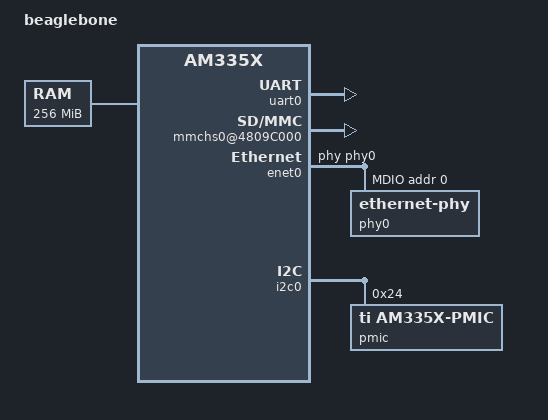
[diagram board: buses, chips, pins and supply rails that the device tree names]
/*-
 * Copyright (c) 2012 Damjan Marion <dmarion@Freebsd.org>
 * All rights reserved.
 *
 * Redistribution and use in source and binary forms, with or without
 * modification, are permitted provided that the following conditions
 * are met:
 * 1. Redistributions of source code must retain the above copyright
 *    notice, this list of conditions and the following disclaimer.
 * 2. Redistributions in binary form must reproduce the above copyright
 *    notice, this list of conditions and the following disclaimer in the
 *    documentation and/or other materials provided with the distribution.
 *
 * THIS SOFTWARE IS PROVIDED BY THE AUTHOR AND CONTRIBUTORS ``AS IS'' AND
 * ANY EXPRESS OR IMPLIED WARRANTIES, INCLUDING, BUT NOT LIMITED TO, THE
 * IMPLIED WARRANTIES OF MERCHANTABILITY AND FITNESS FOR A PARTICULAR PURPOSE
 * ARE DISCLAIMED.  IN NO EVENT SHALL THE AUTHOR OR CONTRIBUTORS BE LIABLE
 * FOR ANY DIRECT, INDIRECT, INCIDENTAL, SPECIAL, EXEMPLARY, OR CONSEQUENTIAL
 * DAMAGES (INCLUDING, BUT NOT LIMITED TO, PROCUREMENT OF SUBSTITUTE GOODS
 * OR SERVICES; LOSS OF USE, DATA, OR PROFITS; OR BUSINESS INTERRUPTION)
 * HOWEVER CAUSED AND ON ANY THEORY OF LIABILITY, WHETHER IN CONTRACT, STRICT
 * LIABILITY, OR TORT (INCLUDING NEGLIGENCE OR OTHERWISE) ARISING IN ANY WAY
 * OUT OF THE USE OF THIS SOFTWARE, EVEN IF ADVISED OF THE POSSIBILITY OF
 * SUCH DAMAGE.
 * 
 * $FreeBSD$
 */

/dts-v1/;

/ {
	model = "beaglebone";
	compatible = "beaglebone", "ti,am335x";
	#address-cells = <1>;
	#size-cells = <1>;

	interrupt-parent = <&AINTC>;

	aliases {
		soc = &SOC;
		uart0 = &uart0;
	};

	memory {
		device_type = "memory";
		reg = < 0x80000000 0x10000000 >;	/* 256MB RAM */
	};

	SOC: am335x {
		#address-cells = <1>;
		#size-cells = <1>;
		compatible = "simple-bus";
		ranges;
		bus-frequency = <0>;

		AINTC: interrupt-controller@48200000 {
			compatible = "ti,aintc";
			interrupt-controller;
			#address-cells = <0>;
			#interrupt-cells = <1>;
			reg =	< 0x48200000 0x1000 >;
		};

		scm@44e10000 {
			compatible = "ti,scm";
			reg =	< 0x44e10000 0x2000 >;
			/* Set of triplets < padname, muxname, padstate> */
			scm-pad-config =
				/* I2C0 */
				"I2C0_SDA", "I2C0_SDA","i2c",
				"I2C0_SCL", "I2C0_SCL","i2c",
				/* Ethernet */
				"MII1_RX_ER", "gmii1_rxerr", "input_pulldown",
				"MII1_TX_EN", "gmii1_txen", "output",
				"MII1_RX_DV", "gmii1_rxdv", "input_pulldown",
				"MII1_TXD3", "gmii1_txd3", "output",
				"MII1_TXD2", "gmii1_txd2", "output",
				"MII1_TXD1", "gmii1_txd1", "output",
				"MII1_TXD0", "gmii1_txd0", "output",
				"MII1_TX_CLK", "gmii1_txclk", "input_pulldown",
				"MII1_RX_CLK", "gmii1_rxclk", "input_pulldown",
				"MII1_RXD3", "gmii1_rxd3", "input_pulldown",
				"MII1_RXD2", "gmii1_rxd2", "input_pulldown",
				"MII1_RXD1", "gmii1_rxd1",  "input_pulldown",
				"MII1_RXD0", "gmii1_rxd0",  "input_pulldown",
				"MDIO", "mdio_data", "input_pullup",
				"MDC", "mdio_clk", "output_pullup",
				/* MMCSD0 */
				"MMC0_CMD", "mmc0_cmd", "input_pullup",
				"MMC0_CLK", "mmc0_clk", "input_pullup",
				"MMC0_DAT0", "mmc0_dat0", "input_pullup",
				"MMC0_DAT1", "mmc0_dat1", "input_pullup",
				"MMC0_DAT2", "mmc0_dat2", "input_pullup",
				"MMC0_DAT3", "mmc0_dat3", "input_pullup";
		};

		prcm@44E00000 {
			compatible = "am335x,prcm";
			#address-cells = <1>;
			#size-cells = <1>;
			reg = < 0x44E00000 0x1300 >;
		};

		dmtimers@44E05000 {
			compatible = "ti,am335x-dmtimer";
			#address-cells = <1>;
			#size-cells = <1>;
			reg =	< 0x44E05000 0x1000
				  0x44E31000 0x1000
				  0x48040000 0x1000
				  0x48042000 0x1000
				  0x48044000 0x1000
				  0x48046000 0x1000
				  0x48048000 0x1000
				  0x4804A000 0x1000 >;
			interrupts = < 66 67 68 69 92 93 94 95 >;
			interrupt-parent = <&AINTC>;
		};

		GPIO: gpio {
			#gpio-cells = <3>;
			compatible = "ti,gpio";
			gpio-controller;
			reg =<	0x44E07000 0x1000
				0x4804C000 0x1000
				0x481AC000 0x1000
				0x481AE000 0x1000 >;
			interrupts = < 96 97 98 99 32 33 62 63 >;
			interrupt-parent = <&AINTC>;
		};


		uart0: serial@44E09000 {
			compatible = "ns16550";
			reg = <0x44E09000 0x1000>;
			reg-shift = <2>;
			interrupts = < 72 >;
			interrupt-parent = <&AINTC>;
			clock-frequency = < 48000000 >; /* FIXME */
		};

		edma3@49000000 {
			compatible = "ti,edma3";
			reg =<	0x49000000 0x100000	/* Channel Controller Regs */
				0x49800000 0x100000	/* Transfer Controller 0 Regs */
				0x49900000 0x100000	/* Transfer Controller 1 Regs */
				0x49a00000 0x100000 >;	/* Transfer Controller 2 Regs */
			interrupts = <12 13 14>;
			interrupt-parent = <&AINTC>;
		};

		mmchs0@4809C000 {
			compatible = "ti,mmchs";
			reg =<0x48060000 0x1000 >;
			interrupts = <64>;
			interrupt-parent = <&AINTC>;
			mmchs-device-id = <0>;
		};

		enet0: ethernet@4A100000 {
			#address-cells = <1>;
			#size-cells = <1>;
			compatible = "ti,cpsw";
			reg = <0x4A100000 0x4000>;
			interrupts = <40 41 42 43>;
			interrupt-parent = <&AINTC>;
			phy-handle = <&phy0>;
			mdio@0 {
				#address-cells = <1>;
				#size-cells = <0>;
				compatible = "ti,cpsw-mdio";
				phy0: ethernet-phy@0 {
					reg = <0x0>;
				};
			};
		};

		i2c0: i2c@44e0b000 {
			#address-cells = <1>;
			#size-cells = <0>;
			compatible = "ti,i2c";
			reg =<	0x44e0b000 0x1000 >;
			interrupts = <70>;
			interrupt-parent = <&AINTC>;
			i2c-device-id = <0>;
			pmic@24 {
				compatible = "ti,am335x-pmic";
				reg = <0x24>;
			};
		};
	};

	chosen {
		stdin = "uart0";
		stdout = "uart0";
	};
};
